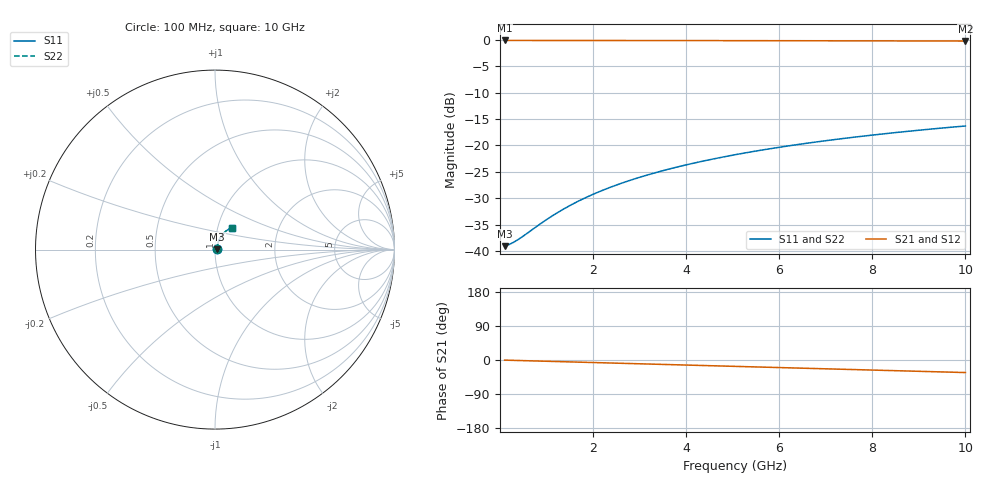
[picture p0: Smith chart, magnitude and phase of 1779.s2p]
# Hz S RI R 50.00
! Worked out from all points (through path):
!   100 points, 100 MHz to 10 GHz, reference 50 ohm
!   highest |S21| = -0.10 dB at 100 MHz (marker M1); lowest = -0.2 dB at 10 GHz (marker M2)
!   group delay of S21, straight-line fit = 9.21 ps
!   lowest |S11| = -39.1 dB at 100 MHz (marker M3), VSWR 1.02, Z = 51.1 + j0.16 ohm
!   |S11| at or under -10 dB: start of sweep to end of sweep
!   |S22| runs from -39.1 to -16.3 dB; largest |S21 - S12| = 0
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1e8  0.011 0.00156  0.989 -0.00576  0.989 -0.00576  0.011 0.00156
2e8  0.0111 0.00313  0.9889 -0.0115  0.9889 -0.0115  0.0111 0.00313
3e8  0.0112 0.00469  0.9887 -0.0173  0.9887 -0.0173  0.0112 0.00469
4e8  0.0113 0.00625  0.9885 -0.023  0.9885 -0.023  0.0113 0.00625
1e9  0.0122 0.0156  0.9868 -0.0575  0.9868 -0.0575  0.0122 0.0156
1.3e9  0.0129 0.0202  0.9855 -0.0747  0.9855 -0.0747  0.0129 0.0202
1.5e9  0.0135 0.0233  0.9845 -0.0862  0.9845 -0.0862  0.0135 0.0233
1.8e9  0.0144 0.0279  0.9827 -0.1033  0.9827 -0.1033  0.0144 0.0279
2.1e9  0.0155 0.0324  0.9805 -0.1204  0.9805 -0.1204  0.0155 0.0324
2.5e9  0.0172 0.0384  0.9772 -0.1431  0.9772 -0.1431  0.0172 0.0384
2.9e9  0.0192 0.0443  0.9732 -0.1658  0.9732 -0.1658  0.0192 0.0443
3.4e9  0.0221 0.0516  0.9676 -0.1939  0.9676 -0.1939  0.0221 0.0516
3.8e9  0.0247 0.0573  0.9624 -0.2162  0.9624 -0.2162  0.0247 0.0573
4.2e9  0.0275 0.0628  0.9567 -0.2383  0.9567 -0.2383  0.0275 0.0628
4.6e9  0.0306 0.0682  0.9505 -0.2603  0.9505 -0.2603  0.0306 0.0682
5.1e9  0.0348 0.0747  0.9419 -0.2876  0.9419 -0.2876  0.0348 0.0747
5.9e9  0.0424 0.0845  0.9266 -0.3304  0.9266 -0.3304  0.0424 0.0845
6.7e9  0.0507 0.0936  0.9092 -0.3724  0.9092 -0.3724  0.0507 0.0936
7.5e9  0.0599 0.1019  0.8898 -0.4133  0.8898 -0.4133  0.0599 0.1019
8.4e9  0.0711 0.1101  0.8658 -0.458  0.8658 -0.458  0.0711 0.1101
9.2e9  0.0816 0.1164  0.8426 -0.4964  0.8426 -0.4964  0.0816 0.1164
1e10  0.0927 0.1216  0.8177 -0.5335  0.8177 -0.5335  0.0927 0.1216
